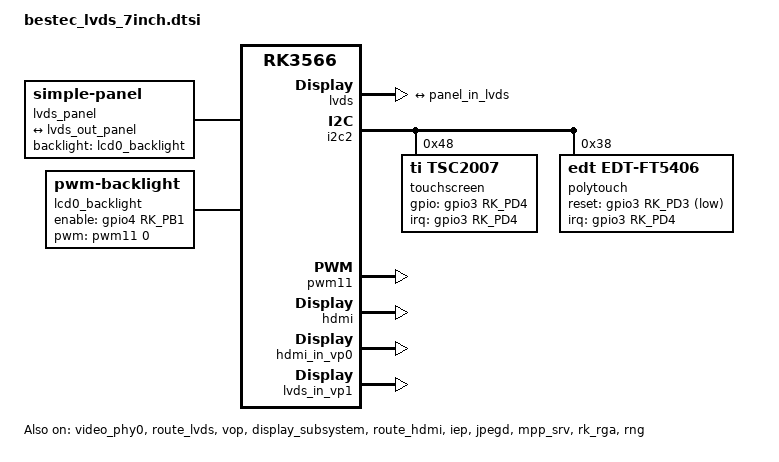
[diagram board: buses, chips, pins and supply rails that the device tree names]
// SPDX-License-Identifier: (GPL-2.0+ OR MIT)
/*
 * Copyright (c) 2022 Radxa Limited.
 *
 */

///dts-v1/;
#include <dt-bindings/display/media-bus-format.h>
#include <dt-bindings/display/drm_mipi_dsi.h>
#include <dt-bindings/display/rockchip_vop.h>
#include <dt-bindings/sensor-dev.h>


/ {
	compatible = "radxa,radxa-cm3-io", "rockchip,rk3566";
 	lvds_panel: lvds-panel {
        	compatible = "simple-panel";
        	status = "okay";
        	//enable-gpios = <&pca9555 PCA_IO1_2 GPIO_ACTIVE_HIGH>;
        	backlight = <&lcd0_backlight>;
        	enable-delay-ms = <35>;
        	prepare-delay-ms = <6>;
        	unprepare-delay-ms = <0>;
        	disable-delay-ms = <20>;
        	bus-format = <MEDIA_BUS_FMT_RGB888_1X7X4_SPWG>;
		rotation=<90>;
        	display-timings {
            		native-mode = <&timing0>;
            		timing0: timing0 {
                		clock-frequency = <55000000>;
                		hactive = <1024>;
                		vactive = <600>;
                		hfront-porch = <24>;
                		hback-porch = <160>;
                		hsync-len = <136>;
                		vfront-porch = <3>;
                		vback-porch = <29>;
                		vsync-len = <6>;
                		hsync-active = <0>;
                		vsync-active = <0>;
                		de-active = <0>;
                		pixelclk-active = <0>;
            		};
            	};

        	ports {
            		#address-cells = <1>;
            		#size-cells = <0>;

            		port@0 {
                		reg = <0>;
                		//dual-lvds-even-pixels;
                		panel_in_lvds: endpoint {
                    			remote-endpoint = <&lvds_out_panel>;
                		};
           		};
        	};
	};

 	virtual_ts: virtual_ts {
        	compatible = "bestec,virtual_ts";
        	status = "okay";
	};



	lcd0_backlight: lcd0-backlight {
		status = "okay";
		compatible = "pwm-backlight";
		//pwms = <&pwm11 0 250000 0>;	// 4khz
		pwms = <&pwm11 0 2500000 0>;	// 500hz
		brightness-levels = <
			255 254 253 252 251 250 249 248
			247 246 245 244 243 242 241 240
			239 238 237 236 235 234 233 232
			231 230 229 228 227 226 225 224
			223 222 221 220 219 218 217 216
			215 214 213 212 211 210 209 208
			207 206 205 204 203 202 201 200
			199 198 197 196 195 194 193 192
			191 190 189 188 187 186 185 184
			183 182 181 180 179 178 177 176
			175 174 173 172 171 170 169 168
			167 166 165 164 163 162 161 160
			159 158 157 156 155 154 153 152
			151 150 149 148 147 146 145 144
			143 142 141 140 139 138 137 136
			135 134 133 132 131 130 129 128
			127 126 125 124 123 122 121 120
			119 118 117 116 115 114 113 112
			111 110 109 108 107 106 105 104
			103 102 101 100  99  98  97  96
			 95  94  93  92  91  90  89  88
			 87  86  85  84  83  82  81  80
			 79  78  77  76  75  74  73  72
			 71  70  69  68  67  66  65  64
			 63  62  61  60  59  58  57  56
			 55  54  53  52  51  50  49  48
			 47  46  45  44  43  42  41  40
			 39  38  38  37  37  36  36  35
			 35  34  34  33  33  32  32  31
			 31  30  30  29  29  28  28  27
			 27  26  26  25  25  24  24  23
			 23  22  22  21  21  20  20   0
		>;
		default-brightness-level = <200>;
		enable-gpios = <&gpio4 RK_PB1 GPIO_ACTIVE_HIGH>;
		pinctrl-names = "default";
		pinctrl-0 = <&lcd0_backlight_drv>;
	};
};


&lvds {
    status = "okay";
    ports {
        lvds_out:port@1 {
            reg = <1>;

            lvds_out_panel: endpoint {
                remote-endpoint = <&panel_in_lvds>;
            };
        };
    };
};


&i2c2 {
    	status = "okay";
    //i2c-scl-rising-time-ns = <800>;
    //i2c-scl-falling-time-ns = <100>;
	 touchscreen: touchscreen@48 {
                 compatible = "ti,tsc2007";
                 reg = <0x48>;
                 pinctrl-names = "default";
        	 pinctrl-0 = <&edt_ft5x06_pins>;
		 interrupt-parent = <&gpio3>;
	 	 interrupts = <RK_PD4 IRQ_TYPE_EDGE_FALLING>;
		 gpios = <&gpio3 RK_PD4 IRQ_TYPE_EDGE_FALLING>;
                 ti,x-plate-ohms = <750>;
                 wakeup-source;
                 status = "okay";

             };
 	polytouch: edt-ft5x06@38 {
        	compatible = "edt,edt-ft5406";
        	reg = <0x38>;
        	pinctrl-names = "default";
        	pinctrl-0 = <&edt_ft5x06_pins>;
        	invert;  /* 7인치 구형에만 해당, y좌료플 반전시킴 */
        	reset-gpios = <&gpio3 RK_PD3 GPIO_ACTIVE_LOW>;
        	//irq-gpios = <&gpio3 RK_PD4 GPIO_ACTIVE_HIGH>;
		interrupt-parent = <&gpio3>;
		interrupts = <RK_PD4 IRQ_TYPE_EDGE_FALLING>;
        	/*   wake-gpios = <&gpio4 9 0>;*/
        	screen-x = <1024>;
        	screen-y = <600>;
        	gain = <15>;
        	threshold = <45>;
        	status = "okay";
    	};

};


&pwm11 {
	status = "okay";
	pinctrl-0 = <&pwm11m1_pins>;
};


&hdmi {
    status = "okay";
};

&hdmi_in_vp0 {
    status = "okay";
};

&hdmi_in_vp1 {
    status = "disabled";
};

//lvds
&dsi0 {
    status = "disabled";
};

&dsi0_in_vp0 {
    status = "disabled";
};

&dsi0_in_vp1 {
    status = "disabled";
};

&video_phy0 {
    status = "okay";
};

&lvds_in_vp1 {
    status = "okay";
};

&lvds_in_vp2 {
    status = "disabled";
};

&route_lvds {
    status = "okay";
    connect = <&vp1_out_lvds>;
};

&vop {
    status = "okay";
    assigned-clocks = <&cru DCLK_VOP0>, <&cru DCLK_VOP1>;
    assigned-clock-parents = <&pmucru PLL_HPLL>, <&cru PLL_VPLL>;
};
&vop_mmu {
        status = "okay";
};

&display_subsystem {
    status = "okay";
};


&route_hdmi {
        status = "okay";
        connect = <&vp0_out_hdmi>;
};

&vp0 {
        rockchip,plane-mask = <(
                                1 << ROCKCHIP_VOP2_CLUSTER0 | 1 << ROCKCHIP_VOP2_ESMART0 |
                                1 << ROCKCHIP_VOP2_CLUSTER1 | 1 << ROCKCHIP_VOP2_ESMART1 )>;
        rockchip,primary-plane = <ROCKCHIP_VOP2_ESMART0>;
        cursor-win-id = <ROCKCHIP_VOP2_ESMART1>;
	//xmirror-enable =<1>;
};

&vp1 {	// 여기가 동작됨
        rockchip,plane-mask = <(1 << ROCKCHIP_VOP2_SMART0 | 1 << ROCKCHIP_VOP2_SMART1)>;
        rockchip,primary-plane = <ROCKCHIP_VOP2_SMART0>;
	//xmirror-enable =<1>;
	disable-afbc-win=<0>;
	disable-win-move=<0>;
};

&vp2 {
        status = "disabled";
};

&iep {
        status = "okay";
};

&iep_mmu {
        status = "okay";
};

&jpegd {
        status = "okay";
};

&jpegd_mmu {
        status = "okay";
};

&mpp_srv {
        status = "okay";
};

&rk_rga {
        status = "okay";
};

&rkvdec {
        rockchip,disable-auto-freq;
        assigned-clock-rates = <396000000>, <396000000>, <396000000>, <600000000>;
        //status = "okay";
        status = "disabled";
};

&rkvdec_mmu {
        //status = "okay";
        status = "disabled";
};

&rkvenc {
        venc-supply = <&vdd_logic>;
        status = "disabled";
};

&rkvenc_mmu {
        status = "disabled";
};

&rknpu {
        rknpu-supply = <&vdd_gpu>;
        status = "disabled";
};

&rknpu_mmu {
        status = "disabled";
};

&rng {
        status = "okay";
};



&pinctrl {
	dsi0-lcd {
		dsi0_lcd_rst_gpio: dsi0-lcd-rst-gpio {
			rockchip,pins = <4 RK_PA2 RK_FUNC_GPIO &pcfg_pull_up>;
		};

		lcd0_backlight_drv: lcd0-backlight-drv {
			rockchip,pins = <4 RK_PB1 RK_FUNC_GPIO &pcfg_pull_up>;	
		};

		edt_ft5x06_pins: edt_ft5x06_pins{
			rockchip,pins = <3 RK_PD3 RK_FUNC_GPIO &pcfg_pull_up>,	// #rst
					<3 RK_PD4 RK_FUNC_GPIO &pcfg_pull_up>;	// int
		};
	};

};

